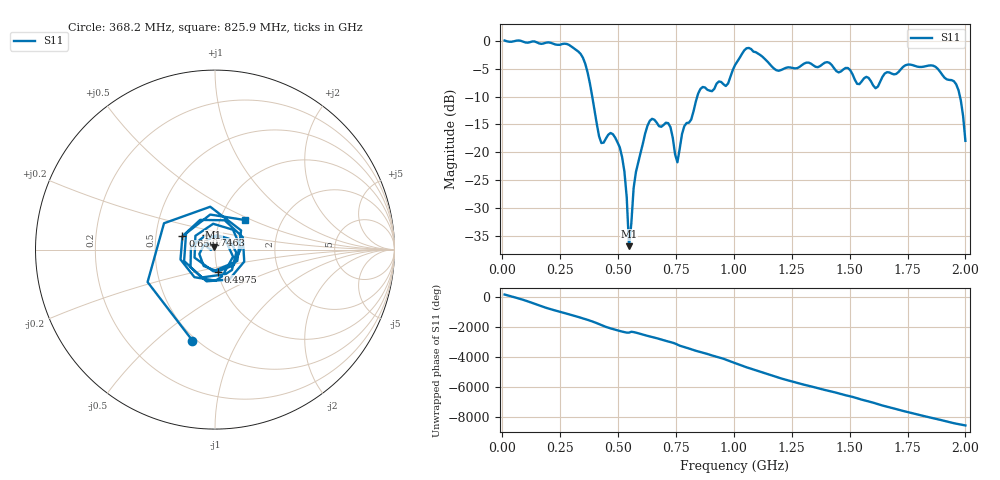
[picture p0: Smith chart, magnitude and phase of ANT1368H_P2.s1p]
!Created with skrf (http://scikit-rf.org).
# Hz S RI R 50.0
!freq ReS11 ImS11
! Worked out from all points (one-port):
!   201 points, 10 MHz to 2 GHz, reference 50 ohm
!   lowest |S11| = -36.8 dB at 547.3 MHz (marker M1), VSWR 1.03, Z = 49.2 + j1.17 ohm
!   |S11| at or under -10 dB: 388.5 MHz to 842 MHz (453.6 MHz wide, 73.7 % of centre); 1.977 GHz to end of sweep
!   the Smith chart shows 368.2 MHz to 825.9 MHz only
!   S11 on the Smith chart (normalised r, x): 368.2 MHz: 0.48, -0.66; 497.6 MHz: 1.00, -0.25; 656.8 MHz: 0.69, +0.11; 746.3 MHz: 0.90, +0.15; 825.9 MHz: 1.31, +0.46
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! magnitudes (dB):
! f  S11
! 10 MHz  0.0
! 258.8 MHz  -0.6
! 368.2 MHz  -5.6
! 427.9 MHz  -18.3
! 497.6 MHz  -18.2
! 507.5 MHz  -19.1
! 527.4 MHz  -23.4
! 537.4 MHz  -28.0
! 547.3 MHz  -36.8
! 577.1 MHz  -23.5
! 626.9 MHz  -15.2
! 656.8 MHz  -14.1
! 716.5 MHz  -14.8
! 746.3 MHz  -20.3
! 756.2 MHz  -21.8
! 786.1 MHz  -15.3
! 825.9 MHz  -12.6
! 855.8 MHz  -8.6
! 965.2 MHz  -8.1
! 1.005 GHz  -4.4
! 1.065 GHz  -1.3
! 1.254 GHz  -4.9
! 1.502 GHz  -5.3
! 1.612 GHz  -8.5
! 1.751 GHz  -4.3
! 1.96 GHz  -7.8
! 1.98 GHz  -10.6
! 2 GHz  -17.9
